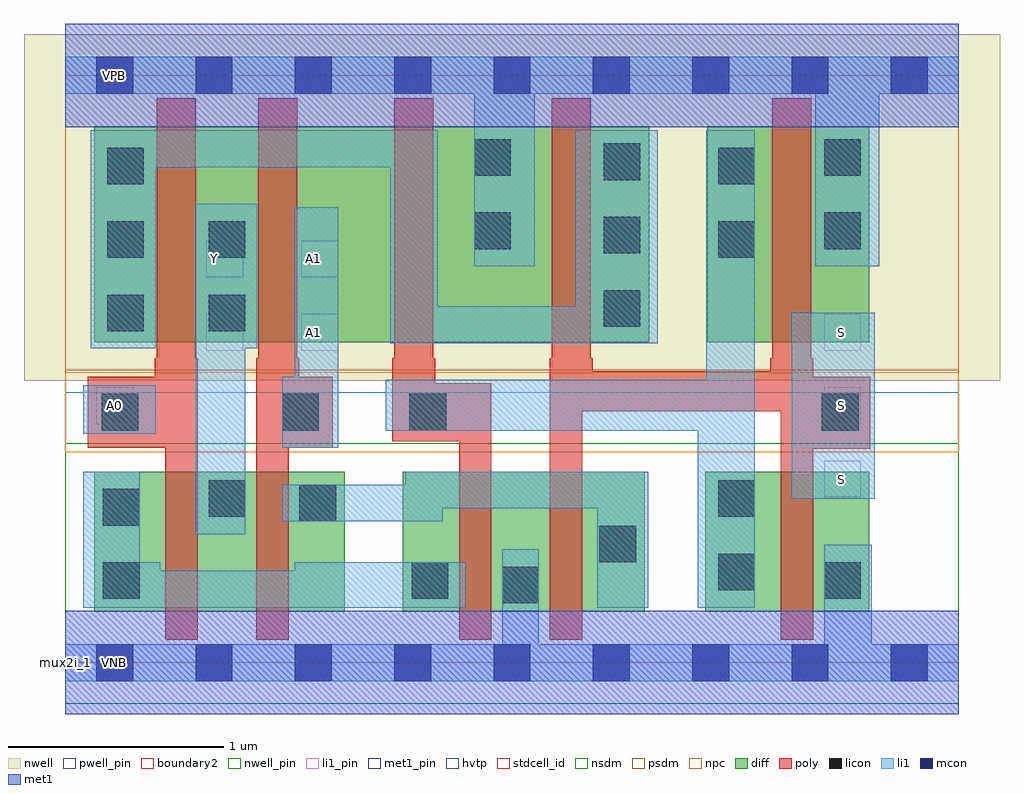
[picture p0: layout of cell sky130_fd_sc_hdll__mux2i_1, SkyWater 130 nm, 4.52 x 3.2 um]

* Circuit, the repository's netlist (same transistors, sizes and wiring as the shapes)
* Copyright 2020 The SkyWater PDK Authors
*
* Licensed under the Apache License, Version 2.0 (the "License");
* you may not use this file except in compliance with the License.
* You may obtain a copy of the License at
*
*     https://www.apache.org/licenses/LICENSE-2.0
*
* Unless required by applicable law or agreed to in writing, software
* distributed under the License is distributed on an "AS IS" BASIS,
* WITHOUT WARRANTIES OR CONDITIONS OF ANY KIND, either express or implied.
* See the License for the specific language governing permissions and
* limitations under the License.
*
* SPDX-License-Identifier: Apache-2.0

.SUBCKT sky130_fd_sc_hdll__mux2i_1 A0 A1 S VGND VNB VPB VPWR Y
*.PININFO A0:I A1:I S:I VGND:I VNB:I VPB:I VPWR:I Y:O
MMNA00 Y A0 smdNA0 VNB sky130_fd_pr__nfet_01v8 m=1 w=0.65U l=0.15U mult=1 sa=0.265
+ sb=0.265 sd=0.28 area=0.063 perim=1.14
MMNA01 smdNA0 Sb VGND VNB sky130_fd_pr__nfet_01v8 m=1 w=0.65U l=0.15U mult=1 sa=0.265
+ sb=0.265 sd=0.28 area=0.063 perim=1.14
MMNA10 Y A1 sndNA1 VNB sky130_fd_pr__nfet_01v8 m=1 w=0.65U l=0.15U mult=1 sa=0.265
+ sb=0.265 sd=0.28 area=0.063 perim=1.14
MMNA11 sndNA1 S VGND VNB sky130_fd_pr__nfet_01v8 m=1 w=0.65U l=0.15U mult=1 sa=0.265
+ sb=0.265 sd=0.28 area=0.063 perim=1.14
MMIN1 Sb S VGND VNB sky130_fd_pr__nfet_01v8 m=1 w=0.65U l=0.15U mult=1 sa=0.265
+ sb=0.265 sd=0.28 area=0.063 perim=1.14
MMPA00 VPWR S sndPS VPB sky130_fd_pr__pfet_01v8_hvt m=1 w=1.0U l=0.18U mult=1 sa=0.265
+ sb=0.265 sd=0.28 area=0.063 perim=1.14
MMPA01 sndPS A0 Y VPB sky130_fd_pr__pfet_01v8_hvt m=1 w=1.0U l=0.18U mult=1 sa=0.265
+ sb=0.265 sd=0.28 area=0.063 perim=1.14
MMPA10 VPWR Sb sndPSb VPB sky130_fd_pr__pfet_01v8_hvt m=1 w=1.0U l=0.18U mult=1
+ sa=0.265 sb=0.265 sd=0.28 area=0.063 perim=1.14
MMPA11 sndPSb A1 Y VPB sky130_fd_pr__pfet_01v8_hvt m=1 w=1.0U l=0.18U mult=1 sa=0.265
+ sb=0.265 sd=0.28 area=0.063 perim=1.14
MMIP1 Sb S VPWR VPB sky130_fd_pr__pfet_01v8_hvt m=1 w=1.0U l=0.18U mult=1 sa=0.265
+ sb=0.265 sd=0.28 area=0.063 perim=1.14
.ENDS sky130_fd_sc_hdll__mux2i_1

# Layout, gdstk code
import gdstk
lib = gdstk.Library(unit=1e-6, precision=1e-09)
def R(c, l, rs):  # rectangles x0, y0, x1, y1
    for r in rs: c.add(gdstk.rectangle(r[:2], r[2:], *l))
def A(c, l, x, y, w, h, nx, ny, dx, dy):  # array of equal rectangles
    R(c, l, [(x+i*dx, y+j*dy, x+i*dx+w, y+j*dy+h) for i in range(nx) for j in range(ny)])
def P(c, l, *ps):  # polygons
    for p in ps: c.add(gdstk.Polygon(p, *l))
nwell_pin = (64, 16)
nwell = (64, 20)
diff = (65, 20)
poly = (66, 20)
licon = (66, 44)
li1_pin = (67, 16)
li1 = (67, 20)
mcon = (67, 44)
met1_pin = (68, 16)
met1 = (68, 20)
hvtp = (78, 44)
stdcell_id = (81, 4)
nsdm = (93, 44)
psdm = (94, 20)
npc = (95, 20)
pwell_pin = (122, 16)
boundary2 = (236, 0)

sky130_fd_sc_hdll__mux2i = lib.new_cell('sky130_fd_sc_hdll__mux2i_1')
R(sky130_fd_sc_hdll__mux2i, nwell_pin, [(0.145,2.635,0.315,2.805)])
R(sky130_fd_sc_hdll__mux2i, nwell, [(-0.19,1.305,4.33,2.91)])
R(sky130_fd_sc_hdll__mux2i, diff, [(0.135,0.235,1.295,0.885), (1.565,0.235,2.685,0.885), (2.965,0.235,3.725,0.885), (0.135,1.485,2.705,2.485), (2.975,1.485,3.725,2.485)])
P(sky130_fd_sc_hdll__mux2i, poly, [(0.615,1.41),(0.605,1.41),(0.605,2.615),(0.425,2.615),(0.425,1.41),(0.415,1.41),(0.415,1.325),(0.105,1.325),(0.105,0.995),(0.465,0.995),(0.465,0.105),(0.615,0.105)],
  [(1.24,1.325),(1.085,1.325),(1.085,1.41),(1.075,1.41),(1.075,2.615),(0.895,2.615),(0.895,1.41),(0.885,1.41),(0.885,0.105),(1.035,0.105),(1.035,0.995),(1.24,0.995)],
  [(1.975,1.295),(1.715,1.295),(1.715,1.41),(1.705,1.41),(1.705,2.615),(1.525,2.615),(1.525,1.41),(1.515,1.41),(1.515,1.025),(1.825,1.025),(1.825,0.105),(1.975,0.105)],
  [(3.73,1.325),(3.465,1.325),(3.465,1.41),(3.455,1.41),(3.455,2.615),(3.275,2.615),(3.275,1.41),(3.265,1.41),(3.265,1.35),(2.445,1.35),(2.445,1.41),(2.435,1.41),(2.435,2.615),(2.255,2.615),(2.255,1.41),(2.245,1.41),(2.245,0.105),(2.395,0.105),(2.395,1.165),(3.315,1.165),(3.315,0.105),(3.465,0.105),(3.465,0.99),(3.73,0.99)])
A(sky130_fd_sc_hdll__mux2i, licon, 0.195, 1.535, 0.17, 0.17, 1, 3, 0, 0.34)
A(sky130_fd_sc_hdll__mux2i, licon, 2.495, 1.555, 0.17, 0.17, 1, 3, 0, 0.34)
R(sky130_fd_sc_hdll__mux2i, licon, [(2.025,0.275,2.195,0.445), (0.175,0.295,0.345,0.465), (1.605,0.295,1.775,0.465), (3.515,0.295,3.685,0.465), (3.025,0.335,3.195,0.505), (2.475,0.465,2.645,0.635), (0.175,0.635,0.345,0.805), (1.085,0.655,1.255,0.825), (0.665,0.675,0.835,0.845), (3.025,0.675,3.195,0.845), (0.17,1.075,0.34,1.245), (1.005,1.075,1.175,1.245), (1.595,1.075,1.765,1.245), (3.505,1.075,3.675,1.245), (0.665,1.535,0.835,1.705), (0.665,1.875,0.835,2.045), (3.025,1.875,3.195,2.045), (1.895,1.915,2.065,2.085), (3.515,1.915,3.685,2.085), (3.025,2.215,3.195,2.385), (1.895,2.255,2.065,2.425), (3.515,2.255,3.685,2.425)])
A(sky130_fd_sc_hdll__mux2i, li1_pin, 3.515, 0.765, 0.17, 0.17, 1, 3, 0, 0.34)
R(sky130_fd_sc_hdll__mux2i, li1_pin, [(0.145,1.105,0.315,1.275), (0.655,1.445,0.825,1.615), (1.095,1.445,1.265,1.615), (0.655,1.785,0.825,1.955), (1.095,1.785,1.265,1.955)])
R(sky130_fd_sc_hdll__mux2i, li1, [(3.365,0.76,3.75,1.62), (0.085,1.06,0.42,1.285)])
P(sky130_fd_sc_hdll__mux2i, li1, [(4.14,0.085),(3.735,0.085),(3.735,0.545),(3.515,0.545),(3.515,0.085),(2.195,0.085),(2.195,0.525),(2.025,0.525),(2.025,0.085),(0,0.085),(0,-0.085),(4.14,-0.085)],
  [(4.14,2.805),(0,2.805),(0,2.635),(1.895,2.635),(1.895,1.835),(2.175,1.835),(2.175,2.635),(3.475,2.635),(3.475,1.835),(3.77,1.835),(3.77,2.635),(4.14,2.635)],
  [(0.89,2.125),(0.605,2.125),(0.605,0.595),(0.835,0.595),(0.835,1.455),(0.89,1.455)],
  [(1.265,2.11),(1.065,2.11),(1.065,1.325),(1.005,1.325),(1.005,0.995),(1.265,0.995)],
  [(1.855,0.465),(1.065,0.465),(1.065,0.425),(0.44,0.425),(0.44,0.465),(0.345,0.465),(0.345,0.885),(0.085,0.885),(0.085,0.255),(1.855,0.255)],
  [(2.745,2.465),(2.365,2.465),(2.365,1.65),(1.725,1.65),(1.725,2.465),(0.12,2.465),(0.12,1.455),(0.42,1.455),(0.42,2.295),(1.505,2.295),(1.505,1.48),(2.745,1.48)],
  [(2.7,0.885),(1.575,0.885),(1.575,0.825),(1.005,0.825),(1.005,0.655),(1.75,0.655),(1.75,0.715),(2.465,0.715),(2.465,0.255),(2.7,0.255)],
  [(3.195,2.465),(2.97,2.465),(2.97,1.31),(1.485,1.31),(1.485,1.075),(2.93,1.075),(2.93,0.255),(3.195,0.255)])
A(sky130_fd_sc_hdll__mux2i, mcon, 0.145, -0.085, 0.17, 0.17, 9, 2, 0.46, 2.72)
R(sky130_fd_sc_hdll__mux2i, met1_pin, [(0.145,-0.085,0.315,0.085), (0.145,2.635,0.315,2.805)])
R(sky130_fd_sc_hdll__mux2i, met1, [(0,-0.24,4.14,0.24), (0,2.48,4.14,2.96)])
R(sky130_fd_sc_hdll__mux2i, hvtp, [(0,1.25,4.14,2.72)])
R(sky130_fd_sc_hdll__mux2i, stdcell_id, [(0,0,4.14,2.72)])
R(sky130_fd_sc_hdll__mux2i, nsdm, [(0,-0.19,4.14,1.015)])
R(sky130_fd_sc_hdll__mux2i, psdm, [(0,1.355,4.14,2.91)])
R(sky130_fd_sc_hdll__mux2i, npc, [(0,0.975,4.14,1.345)])
R(sky130_fd_sc_hdll__mux2i, pwell_pin, [(0.145,-0.085,0.315,0.085)])
R(sky130_fd_sc_hdll__mux2i, boundary2, [(0,0,4.14,2.72)])
sky130_fd_sc_hdll__mux2i.add(gdstk.Label('A1', (1.15,1.87), layer=67, texttype=5))
sky130_fd_sc_hdll__mux2i.add(gdstk.Label('S', (3.595,1.19), layer=67, texttype=5))
sky130_fd_sc_hdll__mux2i.add(gdstk.Label('S', (3.595,0.85), layer=67, texttype=5))
sky130_fd_sc_hdll__mux2i.add(gdstk.Label('S', (3.595,1.53), layer=67, texttype=5))
sky130_fd_sc_hdll__mux2i.add(gdstk.Label('A0', (0.23,1.19), layer=67, texttype=5))
sky130_fd_sc_hdll__mux2i.add(gdstk.Label('A1', (1.15,1.53), layer=67, texttype=5))
sky130_fd_sc_hdll__mux2i.add(gdstk.Label('Y', (0.69,1.87), layer=67, texttype=5))
sky130_fd_sc_hdll__mux2i.add(gdstk.Label('VPB', (0.23,2.72), layer=64, texttype=5))
sky130_fd_sc_hdll__mux2i.add(gdstk.Label('VNB', (0.23,0), layer=64, texttype=59))
sky130_fd_sc_hdll__mux2i.add(gdstk.Label('VGND', (0.23,0), layer=68, texttype=5))
sky130_fd_sc_hdll__mux2i.add(gdstk.Label('VPWR', (0.23,2.72), layer=68, texttype=5))
sky130_fd_sc_hdll__mux2i.add(gdstk.Label('mux2i_1', (0,0), layer=83, texttype=44))

lib.write_gds('sky130_fd_sc_hdll__mux2i_1.gds')
